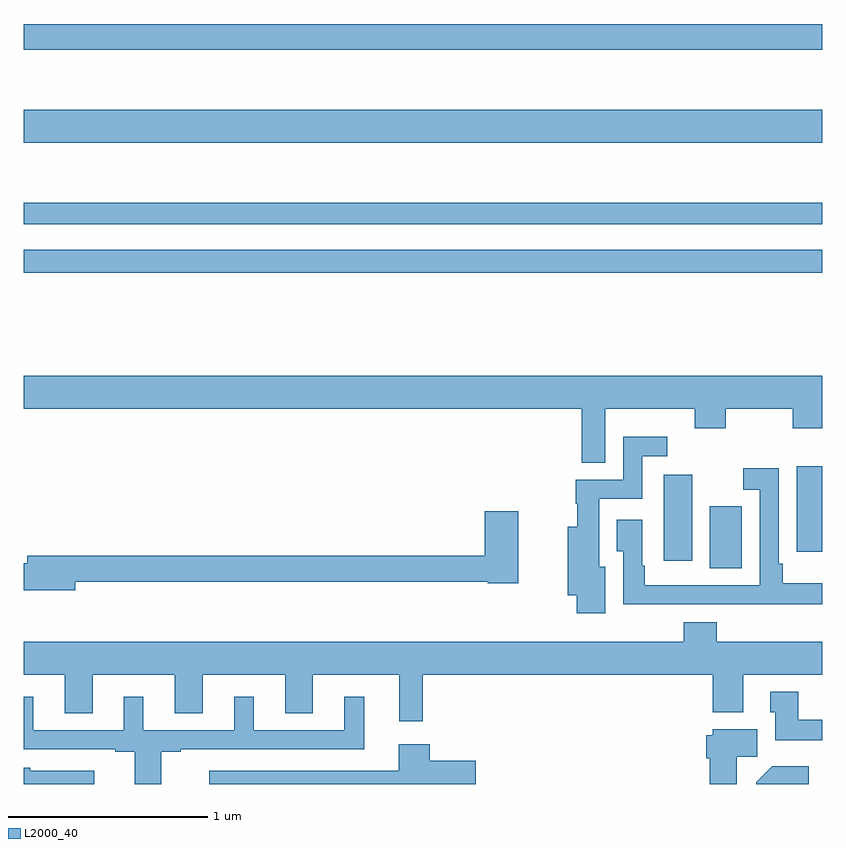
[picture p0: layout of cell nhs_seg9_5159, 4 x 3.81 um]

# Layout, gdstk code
import gdstk
lib = gdstk.Library(unit=1e-6, precision=1e-09)
def R(c, l, rs):  # rectangles x0, y0, x1, y1
    for r in rs: c.add(gdstk.rectangle(r[:2], r[2:], *l))
def P(c, l, *ps):  # polygons
    for p in ps: c.add(gdstk.Polygon(p, *l))
L2000_40 = (2000, 40)

nhs_seg9_5159 = lib.new_cell('nhs_seg9_5159')
R(nhs_seg9_5159, L2000_40, [(412.436,1235.581,412.597,1235.892), (412.205,1235.618,412.348,1236.049), (412.871,1235.664,413,1236.091), (409,1237.06,413,1237.176), (409,1237.302,413,1237.411), (409,1237.712,413,1237.876), (409,1238.178,413,1238.306)])
P(nhs_seg9_5159, L2000_40, [(411.913,1236.38),(412.36,1236.38),(412.36,1236.281),(412.515,1236.281),(412.515,1236.38),(412.852,1236.38),(412.852,1236.281),(413,1236.281),(413,1236.544),(409,1236.544),(409,1236.38),(411.795,1236.38),(411.795,1236.109),(411.913,1236.109)],
  [(411.913,1235.587),(411.883,1235.587),(411.883,1235.928),(412.098,1235.928),(412.098,1236.141),(412.222,1236.141),(412.222,1236.238),(412.002,1236.238),(412.002,1236.024),(411.765,1236.024),(411.765,1235.903),(411.772,1235.903),(411.772,1235.788),(411.725,1235.788),(411.725,1235.444),(411.77,1235.444),(411.77,1235.355),(411.913,1235.355)],
  [(412.223,1235.4),(412.589,1235.4),(412.589,1235.399),(413,1235.399),(413,1235.506),(412.802,1235.506),(412.802,1235.602),(412.782,1235.602),(412.782,1236.082),(412.605,1236.082),(412.605,1235.973),(412.686,1235.973),(412.686,1235.496),(412.111,1235.496),(412.111,1235.593),(412.098,1235.593),(412.098,1235.824),(411.971,1235.824),(411.971,1235.665),(412.002,1235.665),(412.002,1235.399),(412.223,1235.399)],
  [(409.258,1235.514),(411.324,1235.514),(411.324,1235.506),(411.478,1235.506),(411.478,1235.866),(411.308,1235.866),(411.308,1235.642),(409.019,1235.642),(409.019,1235.606),(409,1235.606),(409,1235.471),(409.258,1235.471)],
  [(410.999,1235.048),(412.451,1235.048),(412.451,1234.859),(412.603,1234.859),(412.603,1235.048),(413,1235.048),(413,1235.212),(412.472,1235.212),(412.472,1235.311),(412.307,1235.311),(412.307,1235.212),(409,1235.212),(409,1235.048),(409.205,1235.048),(409.205,1234.855),(409.345,1234.855),(409.345,1235.048),(409.757,1235.048),(409.757,1234.855),(409.897,1234.855),(409.897,1235.048),(410.309,1235.048),(410.309,1234.855),(410.449,1234.855),(410.449,1235.048),(410.882,1235.048),(410.882,1234.815),(410.999,1234.815)],
  [(413,1234.822),(412.879,1234.822),(412.879,1234.963),(412.739,1234.963),(412.739,1234.86),(412.763,1234.86),(412.763,1234.718),(413,1234.718)],
  [(409.69,1234.662),(409.786,1234.662),(409.786,1234.674),(410.705,1234.674),(410.705,1234.936),(410.606,1234.936),(410.606,1234.77),(410.152,1234.77),(410.152,1234.936),(410.054,1234.936),(410.054,1234.77),(409.6,1234.77),(409.6,1234.936),(409.502,1234.936),(409.502,1234.77),(409.048,1234.77),(409.048,1234.936),(409,1234.936),(409,1234.674),(409.46,1234.674),(409.46,1234.662),(409.556,1234.662),(409.556,1234.5),(409.69,1234.5)],
  [(412.57,1234.636),(412.675,1234.636),(412.675,1234.774),(412.452,1234.774),(412.452,1234.743),(412.418,1234.743),(412.418,1234.629),(412.436,1234.629),(412.436,1234.5),(412.57,1234.5)],
  [(411.265,1234.617),(411.035,1234.617),(411.035,1234.699),(410.879,1234.699),(410.879,1234.566),(409.929,1234.566),(409.929,1234.5),(411.265,1234.5)],
  [(412.931,1234.588),(412.748,1234.588),(412.67,1234.51),(412.67,1234.5),(412.931,1234.5)],
  [(409.354,1234.567),(409.032,1234.567),(409.032,1234.582),(409,1234.582),(409,1234.5),(409.354,1234.5)])

lib.write_gds('nhs_seg9_5159.gds')
